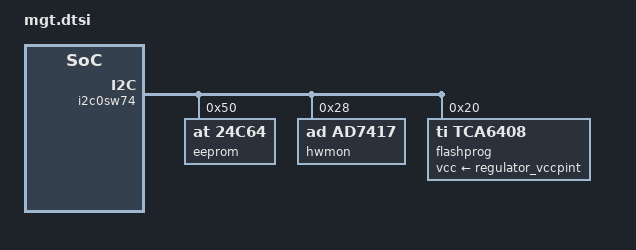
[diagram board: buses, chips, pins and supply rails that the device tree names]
&i2c0sw74 {
	mgt: i2c@7 {
	
		#address-cells = <1>;
		#size-cells = <0>;
		reg = <0x7>;
	
		eeprom@50 {
			compatible = "at,24c64";
			reg = <0x50>;
			};
			hwmon@28 {
			compatible="ad,ad7417";
			reg=<0x28>;
		};
		flashprog: gpio@20 {
			compatible="ti,tca6408";
			reg=<0x20>;
			vcc-supply = <&regulator_vccpint>;
			interrupts = <0 0>;
		};
	};
};
